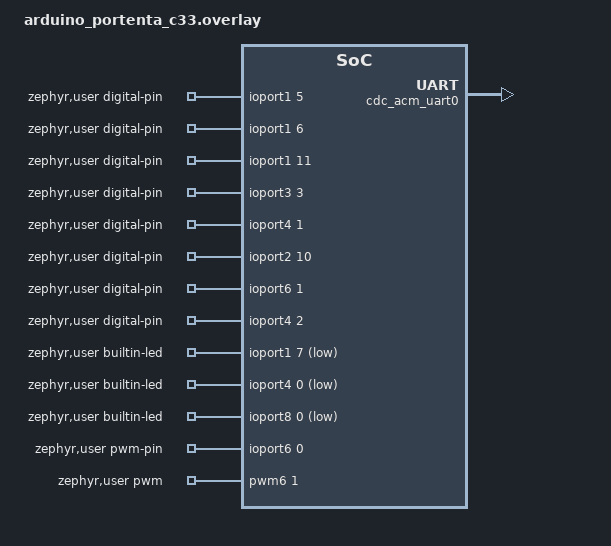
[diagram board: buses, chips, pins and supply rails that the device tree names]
&zephyr_udc0 {
	cdc_acm_uart0: cdc_acm_uart0 {
		compatible = "zephyr,cdc-acm-uart";
		status = "okay";
	};
};

&flash0 {
	partitions {
		mcuboot: partition@0 {
			label = "mcuboot";
			reg = <0x00000000 DT_SIZE_K(64)>;
		};
		code_partition: partition@10000 {
			label = "image-0";
			reg = <0x00010000 (DT_SIZE_M(1) - DT_SIZE_K(64))>;
		};
		user_sketch: partition@100000 {
			label = "user_sketch";
			reg = <0x00100000 (DT_SIZE_M(1))>;
		};
	};
};

/ {
	zephyr,user {
		digital-pin-gpios = <&ioport1 5 GPIO_ACTIVE_HIGH>,
				    <&ioport1 6 GPIO_ACTIVE_HIGH>,
				    <&ioport1 11 GPIO_ACTIVE_HIGH>,
				    <&ioport3 3 GPIO_ACTIVE_HIGH>,
				    <&ioport4 1 GPIO_ACTIVE_HIGH>,
				    <&ioport2 10 GPIO_ACTIVE_HIGH>,
				    <&ioport6 1 GPIO_ACTIVE_HIGH>,
				    <&ioport4 2 GPIO_ACTIVE_HIGH>,
				    <&ioport9 0 GPIO_ACTIVE_HIGH>,
				    <&ioport2 4 GPIO_ACTIVE_HIGH>,
				    <&ioport3 15 GPIO_ACTIVE_HIGH>,
				    <&ioport4 7 GPIO_ACTIVE_HIGH>,
				    <&ioport4 8 GPIO_ACTIVE_HIGH>,
				    <&ioport1 10 GPIO_ACTIVE_HIGH>,
				    <&ioport6 2 GPIO_ACTIVE_HIGH>,

				    <&ioport0 6 GPIO_ACTIVE_HIGH>,
				    <&ioport0 5 GPIO_ACTIVE_HIGH>,
				    <&ioport0 4 GPIO_ACTIVE_HIGH>,
				    <&ioport0 2 GPIO_ACTIVE_HIGH>,
				    <&ioport0 1 GPIO_ACTIVE_HIGH>,
				    <&ioport0 15 GPIO_ACTIVE_HIGH>,
				    <&ioport0 14 GPIO_ACTIVE_HIGH>,
				    <&ioport0 0 GPIO_ACTIVE_HIGH>,

				    <&ioport6 5 GPIO_ACTIVE_HIGH>,
				    <&ioport6 8 GPIO_ACTIVE_HIGH>,
				    <&ioport3 11 GPIO_ACTIVE_HIGH>,
				    <&ioport6 0 GPIO_ACTIVE_HIGH>,

				    <&ioport0 9 GPIO_ACTIVE_HIGH>,
				    <&ioport4 9 GPIO_ACTIVE_HIGH>,
				    <&ioport5 5 GPIO_ACTIVE_HIGH>,
				    <&ioport7 6 GPIO_ACTIVE_HIGH>,
				    <&ioport7 7 GPIO_ACTIVE_HIGH>,
				    <&ioport7 8 GPIO_ACTIVE_HIGH>,
				    <&ioport8 2 GPIO_ACTIVE_HIGH>,

					<&ioport1 7 GPIO_ACTIVE_HIGH>,	// LEDR
					<&ioport4 0 GPIO_ACTIVE_HIGH>,
					<&ioport8 0 GPIO_ACTIVE_HIGH>;

		builtin-led-gpios = <&ioport1 7 GPIO_ACTIVE_LOW>,
                        <&ioport4 0 GPIO_ACTIVE_LOW>,
                        <&ioport8 0 GPIO_ACTIVE_LOW>;

		pwm-pin-gpios =	<&ioport6 0 0>;

		serials = /*<&cdc_acm_uart0>,*/ <&uart9>;
		/* cdc-acm = <&cdc_acm_uart0>; */
		i2cs = <&iic1>;
		spis = <&spi1>;
		pwms = <&pwm6 1 PWM_HZ(25000000) PWM_POLARITY_NORMAL>;
	};
};
